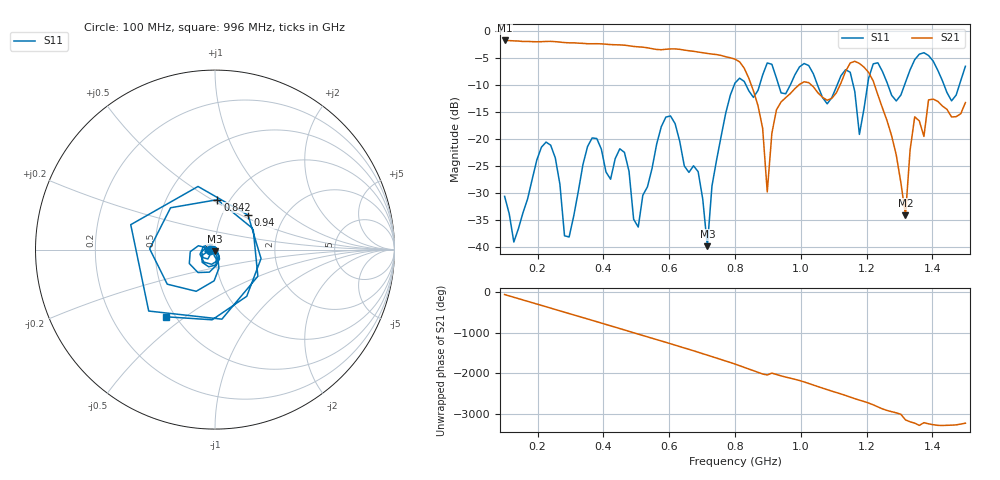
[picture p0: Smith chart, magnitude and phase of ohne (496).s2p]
! NanoVNA-App
! Date: 2025-09-25 14:24:39
! Start: 100MHz Stop: 1,5GHz Points: 101
! S-Parameter data: F S11 S21 S12 S22
# Hz S RI R 50
!  Frequency  S11_Real  S11_Imag  S21_Real  S21_Imag  S12_Real  S12_Imag  S22_Real  S22_Imag
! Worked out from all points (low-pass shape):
!   101 points, 100 MHz to 1.5 GHz, reference 50 ohm
!   highest |S21| = -1.79 dB at 100 MHz (marker M1); lowest = -34.1 dB at 1.318 GHz (marker M2)
!   |S21| within 3 dB of the highest: start of sweep to 771 MHz
!   lowest |S11| = -39.9 dB at 716 MHz (marker M3), VSWR 1.02, Z = 49.7 - j0.98 ohm
!   |S11| at or under -10 dB: start of sweep to 797.9 MHz; 833.1 MHz to 875 MHz (41.96 MHz wide, 4.91 % of centre); 1.05 GHz to 1.111 GHz (60.18 MHz wide, 5.57 % of centre) (the widest 3 of 7)
!   S12 and S22 are empty: the file has one direction only
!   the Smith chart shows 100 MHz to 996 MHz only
!   S11 on the Smith chart (normalised r, x): 100 MHz: 0.94, -0.01; 842 MHz: 0.88, +0.53; 940 MHz: 1.32, +0.55; 996 MHz: 0.45, -0.43
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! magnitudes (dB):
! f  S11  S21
! 100 MHz  -30.6  -1.8
! 128 MHz  -39.1  -1.9
! 226 MHz  -20.6  -2.0
! 296 MHz  -38.2  -2.2
! 338 MHz  -24.8  -2.3
! 464 MHz  -22.5  -2.7
! 506 MHz  -36.3  -3.0
! 576 MHz  -17.8  -3.5
! 688 MHz  -26.1  -3.9
! 716 MHz  -39.9  -4.2
! 800 MHz  -9.7  -5.2
! 842 MHz  -11.1  -8.8
! 898 MHz  -6.0  -29.8
! 940 MHz  -11.5  -13.2
! 996 MHz  -6.7  -9.9
! 1.038 GHz  -8.0  -10.4
! 1.178 GHz  -19.2  -6.0
! 1.22 GHz  -6.1  -9.3
! 1.276 GHz  -11.9  -19.5
! 1.318 GHz  -9.5  -34.1
! 1.346 GHz  -5.3  -15.9
! 1.5 GHz  -6.6  -13.3
